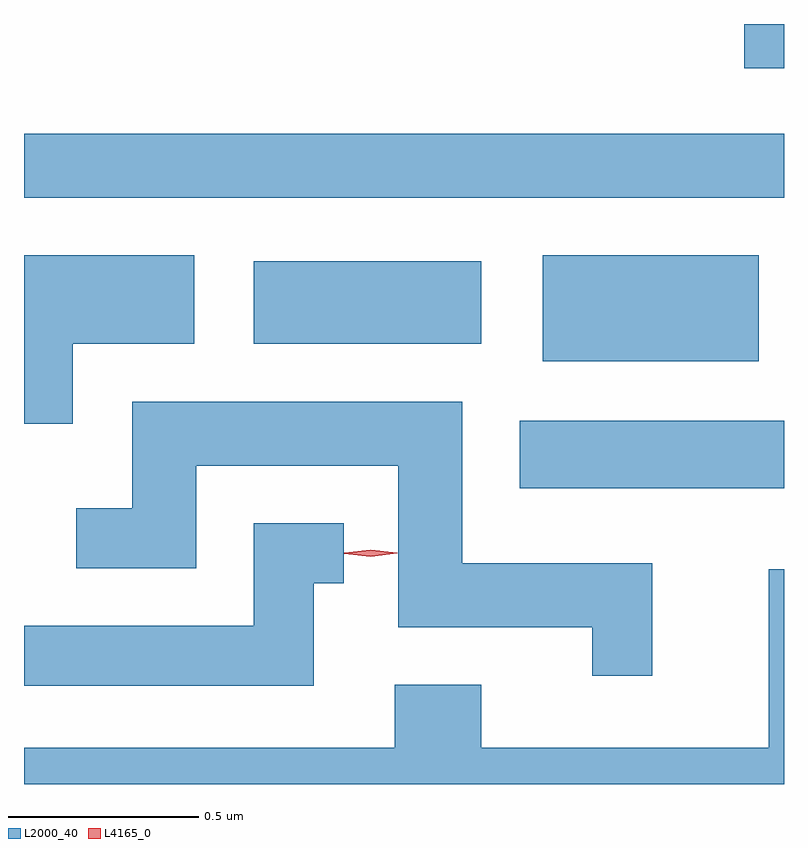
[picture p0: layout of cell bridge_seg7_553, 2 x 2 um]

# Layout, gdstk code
import gdstk
lib = gdstk.Library(unit=1e-6, precision=1e-09)
def R(c, l, rs):  # rectangles x0, y0, x1, y1
    for r in rs: c.add(gdstk.rectangle(r[:2], r[2:], *l))
def P(c, l, *ps):  # polygons
    for p in ps: c.add(gdstk.Polygon(p, *l))
L2000_40 = (2000, 40)
L4165_0 = (4165, 0)

bridge_seg7_553 = lib.new_cell('bridge_seg7_553')
R(bridge_seg7_553, L2000_40, [(852.781,1750.786,853.476,1750.964), (852.841,1751.121,853.409,1751.399), (852.081,1751.166,852.679,1751.384), (851.476,1751.551,853.476,1751.719), (853.371,1751.891,853.476,1752.008)])
P(bridge_seg7_553, L2000_40, [(851.604,1751.166),(851.924,1751.166),(851.924,1751.399),(851.476,1751.399),(851.476,1750.956),(851.604,1750.956)],
  [(853.129,1750.589),(852.629,1750.589),(852.629,1751.014),(851.761,1751.014),(851.761,1750.734),(851.613,1750.734),(851.613,1750.576),(851.929,1750.576),(851.929,1750.846),(852.461,1750.846),(852.461,1750.421),(852.971,1750.421),(852.971,1750.293),(853.129,1750.293)],
  [(852.239,1750.536),(852.318,1750.536),(852.318,1750.694),(852.081,1750.694),(852.081,1750.424),(851.476,1750.424),(851.476,1750.266),(852.239,1750.266)],
  [(853.476,1750.573),(853.436,1750.573),(853.436,1750.104),(852.679,1750.104),(852.679,1750.269),(852.451,1750.269),(852.451,1750.104),(851.476,1750.104),(851.476,1750.008),(853.476,1750.008)])
P(bridge_seg7_553, L4165_0, [(852.388,1750.606),(852.319,1750.614),(852.319,1750.615),(852.319,1750.616),(852.388,1750.625),(852.458,1750.616),(852.458,1750.616),(852.458,1750.615)])

lib.write_gds('bridge_seg7_553.gds')
